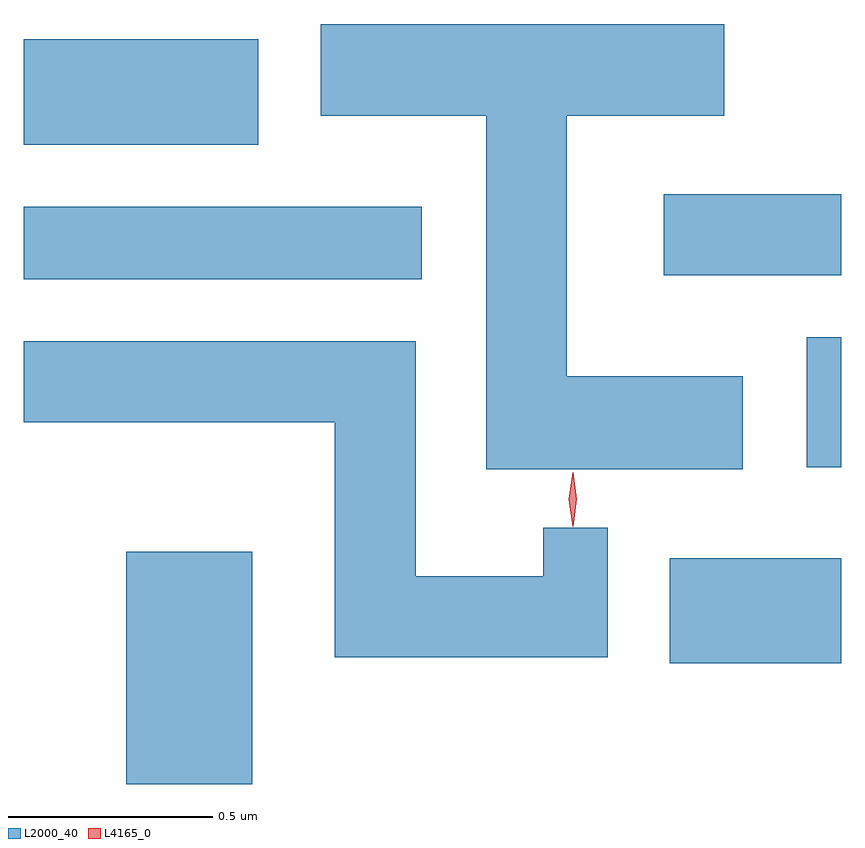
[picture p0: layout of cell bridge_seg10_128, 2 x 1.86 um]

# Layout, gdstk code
import gdstk
lib = gdstk.Library(unit=1e-6, precision=1e-09)
def R(c, l, rs):  # rectangles x0, y0, x1, y1
    for r in rs: c.add(gdstk.rectangle(r[:2], r[2:], *l))
def P(c, l, *ps):  # polygons
    for p in ps: c.add(gdstk.Polygon(p, *l))
L2000_40 = (2000, 40)
L4165_0 = (4165, 0)

bridge_seg10_128 = lib.new_cell('bridge_seg10_128')
R(bridge_seg10_128, L2000_40, [(1630.621,2123.026,1630.929,2123.594), (1631.951,2123.321,1632.37,2123.579), (1632.286,2123.801,1632.37,2124.119), (1630.37,2124.261,1631.344,2124.439), (1631.936,2124.271,1632.37,2124.469), (1630.37,2124.591,1630.944,2124.849)])
P(bridge_seg10_128, L2000_40, [(1632.129,2124.024),(1631.699,2124.024),(1631.699,2124.661),(1632.084,2124.661),(1632.084,2124.886),(1631.096,2124.886),(1631.096,2124.661),(1631.501,2124.661),(1631.501,2123.796),(1632.129,2123.796)],
  [(1631.799,2123.653),(1631.641,2123.653),(1631.641,2123.534),(1631.329,2123.534),(1631.329,2124.109),(1630.37,2124.109),(1630.37,2123.911),(1631.131,2123.911),(1631.131,2123.336),(1631.799,2123.336)])
P(bridge_seg10_128, L4165_0, [(1631.713,2123.656),(1631.704,2123.723),(1631.713,2123.789),(1631.713,2123.789),(1631.714,2123.789),(1631.723,2123.723),(1631.714,2123.656),(1631.714,2123.656)])

lib.write_gds('bridge_seg10_128.gds')
